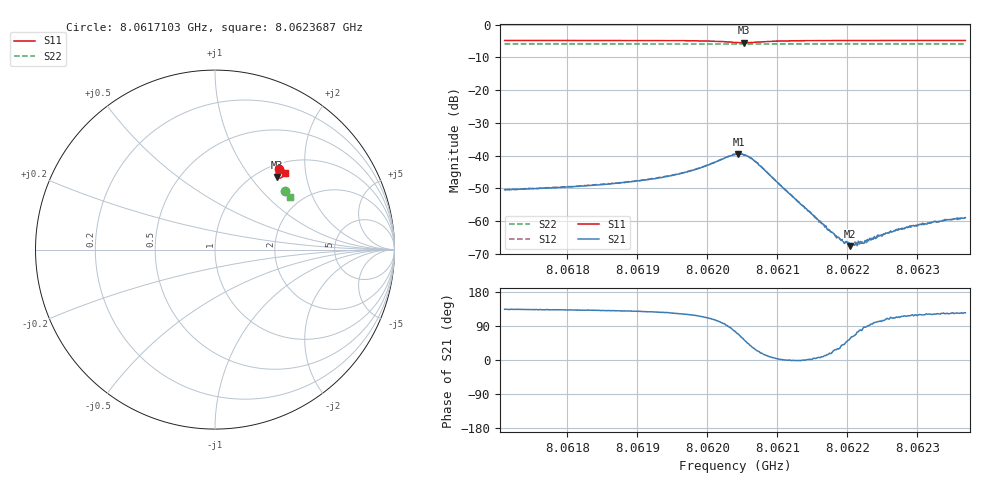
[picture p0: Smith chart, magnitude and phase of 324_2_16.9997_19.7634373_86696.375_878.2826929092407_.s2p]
#  HZ  S  RI  R  50.00
! Rohde & Schwarz Vector Network Analyzer
! Rohde-Schwarz,ZNB20-2Port,1311601062101988,3.16
! Created: UTC 3/20/2024, 11:06:38 PM
! freq[Hz]  re:S11  im:S11  re:S21  im:S21  re:S12  im:S12  re:S22  im:S22
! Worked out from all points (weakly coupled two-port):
!   401 points, 8.0617103 GHz to 8.0623687 GHz, reference 50 ohm
!   highest |S21| = -39.51 dB at 8.0620445 GHz (marker M1); lowest = -67.7 dB at 8.0622041 GHz (marker M2)
!   lowest |S11| = -5.5 dB at 8.0620527 GHz (marker M3), VSWR 3.27, Z = 60.6 + j68.3 ohm
!   |S11| at or under -10 dB: nowhere
!   |S22| runs from -5.9 to -5.8 dB; largest |S21 - S12| = 0.00073
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8.06171033e9  0.3591 0.4504  -0.00208 0.00216  -0.00193 0.00231  0.3919 0.3275
8.06182061e9  0.3667 0.4438  -0.00228 0.00256  -0.00213 0.00271  0.396 0.322
8.06189139e9  0.3721 0.4384  -0.0025 0.00309  -0.00233 0.00325  0.3988 0.3184
8.06193089e9  0.3754 0.4342  -0.00269 0.00369  -0.00249 0.0039  0.4001 0.3164
8.06198356e9  0.3799 0.424  -0.00281 0.00546  -0.0025 0.00568  0.4021 0.3135
8.06203953e9  0.3615 0.3984  0.00255 0.00995  0.00323 0.01  0.4029 0.3099
8.06204447e9  0.3554 0.3988  0.00395 0.00981  0.00463 0.00954  0.4028 0.3098
8.0620527e9  0.3453 0.404  0.0061 0.00803  0.00665 0.00785  0.4026 0.3097
8.06206093e9  0.3399 0.4133  0.00724 0.00577  0.00752 0.00542  0.4029 0.3099
8.06207245e9  0.3404 0.4262  0.00681 0.00292  0.00721 0.00253  0.4034 0.3098
8.06214981e9  0.3681 0.4384  0.00126 4.19e-05  0.00129 -5.17e-05  0.4075 0.3063
8.0621745e9  0.372 0.4369  0.000681 0.00022  0.000707 0.000154  0.4085 0.3051
8.06218767e9  0.3737 0.4362  0.000493 0.000274  0.000478 0.000267  0.4089 0.3045
8.06219425e9  0.3745 0.4356  0.000363 0.000312  0.000409 0.00028  0.4092 0.3041
8.06220413e9  0.3757 0.435  0.000224 0.000344  0.000307 0.000327  0.4097 0.3036
8.06220742e9  0.3761 0.4348  0.000212 0.000395  0.000226 0.000368  0.4096 0.3035
8.0622173e9  0.3769 0.4343  9.47e-05 0.000455  0.000139 0.000429  0.4101 0.3029
8.06222388e9  0.3776 0.4338  1.97e-05 0.000453  4.47e-05 0.000499  0.4104 0.3026
8.06222882e9  0.3781 0.4335  2.67e-06 0.000521  5.17e-05 0.000486  0.4105 0.3023
8.06226009e9  0.3809 0.4316  -0.000204 0.000623  -0.000152 0.000655  0.4117 0.3007
8.06230453e9  0.3843 0.429  -0.000443 0.000773  -0.000412 0.000797  0.4133 0.2985
8.06236873e9  0.3887 0.4255  -0.000638 0.000922  -0.00059 0.000969  0.4155 0.2949
